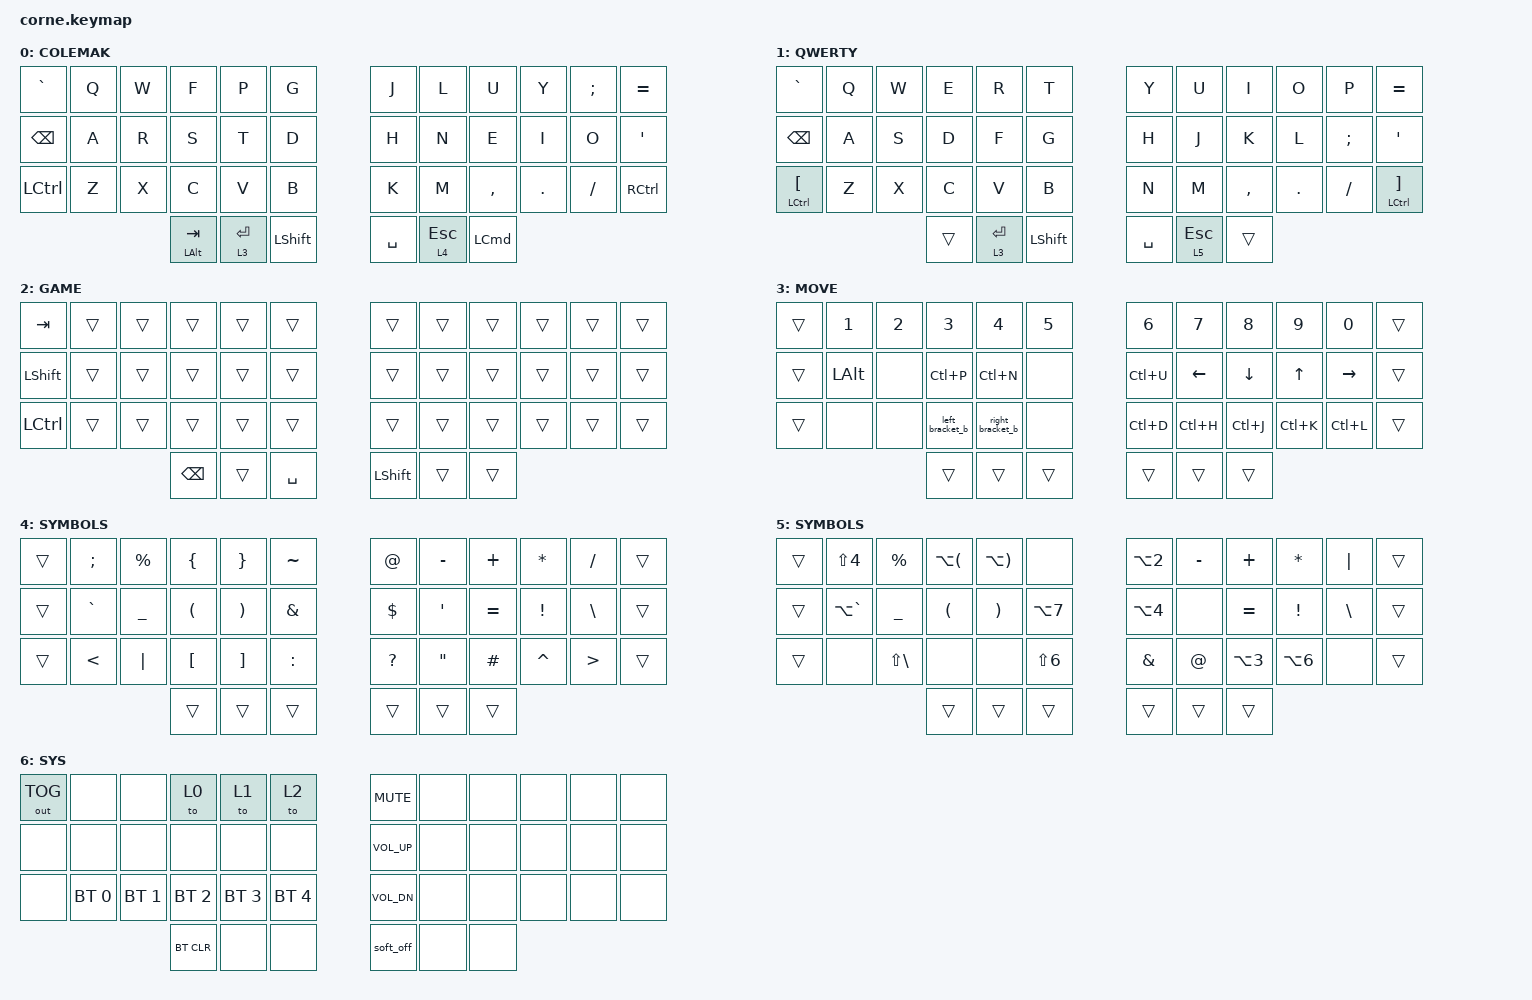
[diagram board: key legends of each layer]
/*
 * Copyright (c) 2020 The ZMK Contributors
 *
 * SPDX-License-Identifier: MIT
 */

#include <behaviors.dtsi>
#include <dt-bindings/zmk/bt.h>
#include <dt-bindings/zmk/keys.h>
#include <dt-bindings/zmk/outputs.h>

&lt {
    tapping-term-ms = <150>;
    flavor = "hold-preferred";
};

&mt {
    quick-tap-ms = <200>;
    tapping-term-ms = <150>;
};

/ {
    combos {
        compatible = "zmk,combos";

        gotoadjust {
            bindings = <&tog 6>;
            key-positions = <11 23 35>;
        };

        change_lang {
            bindings = <&change_lang>;
            key-positions = <0 12 24>;
        };
    };

    macros {
        left_bracket_b: lb {
            compatible = "zmk,behavior-macro";
            #binding-cells = <0>;
            bindings = <&kp LEFT_BRACKET &kp B>;
            label = "LB";
        };

        right_bracket_b: rb {
            compatible = "zmk,behavior-macro";
            #binding-cells = <0>;
            bindings = <&kp RIGHT_BRACKET &kp B>;
            label = "RB";
        };

        change_lang: change_lang {
            compatible = "zmk,behavior-macro";
            #binding-cells = <0>;
            bindings =
                <&tog 1>,
                <&macro_press>,
                <&kp LCTRL>,
                <&macro_wait_time 50>,
                <&macro_tap>,
                <&kp SPACE>,
                <&macro_release>,
                <&kp LCTRL>,
                <&macro_press>;

            label = "CHANGE_LANG";
        };
    };

    behaviors {
        mttap: mttap {
            compatible = "zmk,behavior-hold-tap";
            label = "MTTAP";
            bindings = <&kp>, <&kp>;

            #binding-cells = <2>;
            flavor = "balanced";
            tapping-term-ms = <150>;
            retro-tap;
        };
    };

    keymap {
        compatible = "zmk,keymap";

        colemak {
            bindings = <
&kp GRAVE      &kp Q  &kp W  &kp F             &kp P        &kp G             &kp J      &kp L      &kp U             &kp Y    &kp SEMI  &kp EQUAL
&kp BACKSPACE  &kp A  &kp R  &kp S             &kp T        &kp D             &kp H      &kp N      &kp E             &kp I    &kp O     &kp SQT
&kp LCTRL      &kp Z  &kp X  &kp C             &kp V        &kp B             &kp K      &kp M      &kp COMMA         &kp DOT  &kp FSLH  &kp RCTRL
                             &mt LEFT_ALT TAB  &lt 3 ENTER  &kp LEFT_SHIFT    &kp SPACE  &lt 4 ESC  &kp LEFT_COMMAND
            >;

            label = "COLEMAK";
        };

        default_layer {
            // -----------------------------------------------------------------------------------------
            // |  TAB |  Q  |  W  |  E  |  R  |  T  |   |  Y  |  U   |  I  |  O  |  P  | BKSP |
            // | CTRL |  A  |  S  |  D  |  F  |  G  |   |  H  |  J   |  K  |  L  |  ;  |  '   |
            // | SHFT |  Z  |  X  |  C  |  V  |  B  |   |  N  |  M   |  ,  |  .  |  /  | ESC  |
            //                    | GUI | LWR | SPC |   | ENT | RSE  | ALT |

            display-name = "QWERTY";
            bindings = <
&kp GRAVE                 &kp Q  &kp W  &kp E   &kp R        &kp T             &kp Y      &kp U      &kp I      &kp O    &kp P      &kp EQUAL
&kp BACKSPACE             &kp A  &kp S  &kp D   &kp F        &kp G             &kp H      &kp J      &kp K      &kp L    &kp SEMI   &kp SQT
&mttap LEFT_CONTROL LBKT  &kp Z  &kp X  &kp C   &kp V        &kp B             &kp N      &kp M      &kp COMMA  &kp DOT  &kp SLASH  &mttap LEFT_CONTROL RBKT
                                        &trans  &lt 3 ENTER  &kp LEFT_SHIFT    &kp SPACE  &lt 5 ESC  &trans
            >;
        };

        gayming {
            bindings = <
&kp TAB    &trans  &trans  &trans         &trans  &trans       &trans          &trans  &trans  &trans  &trans  &trans
&kp LSHFT  &trans  &trans  &trans         &trans  &trans       &trans          &trans  &trans  &trans  &trans  &trans
&kp LCTRL  &trans  &trans  &trans         &trans  &trans       &trans          &trans  &trans  &trans  &trans  &trans
                           &kp BACKSPACE  &trans  &kp SPACE    &kp LEFT_SHIFT  &trans  &trans
            >;

            label = "GAME";
        };

        lower_layer {
            // -----------------------------------------------------------------------------------------
            // |  TAB |  1  |  2  |  3  |  4  |  5  |   |  6  |  7  |  8  |  9  |  0  | BKSP |
            // | BTCLR| BT1 | BT2 | BT3 | BT4 | BT5 |   | LFT | DWN |  UP | RGT |     |      |
            // | SHFT |     |     |     |     |     |   |     |     |     |     |     |      |
            //                    | GUI |     | SPC |   | ENT |     | ALT |

            display-name = "MOVE";
            bindings = <
&trans  &kp N1        &kp N2  &kp N3           &kp N4            &kp N5    &kp N6     &kp N7     &kp N8          &kp N9        &kp N0           &trans
&trans  &kp LEFT_ALT  &none   &kp LC(P)        &kp LC(N)         &none     &kp LC(U)  &kp LEFT   &kp DOWN_ARROW  &kp UP_ARROW  &kp RIGHT_ARROW  &trans
&trans  &none         &none   &left_bracket_b  &right_bracket_b  &none     &kp LC(D)  &kp LC(H)  &kp LC(J)       &kp LC(K)     &kp LC(L)        &trans
                              &trans           &trans            &trans    &trans     &trans     &trans
            >;
        };

        raise_layer {
            // -----------------------------------------------------------------------------------------
            // |  TAB |  !  |  @  |  #  |  $  |  %  |   |  ^  |  &  |  *  |  (  |  )  | BKSP |
            // | CTRL |     |     |     |     |     |   |  -  |  =  |  [  |  ]  |  \  |  `   |
            // | SHFT |     |     |     |     |     |   |  _  |  +  |  {  |  }  | "|" |  ~   |
            //                    | GUI |     | SPC |   | ENT |     | ALT |

            display-name = "SYMBOLS";
            bindings = <
&trans  &kp SEMI   &kp PERCENT  &kp LBRC          &kp RBRC               &kp TILDE    &kp AT     &kp MINUS  &kp PLUS   &kp STAR   &kp SLASH  &trans
&trans  &kp GRAVE  &kp UNDER    &kp LPAR          &kp RIGHT_PARENTHESIS  &kp AMPS     &kp DLLR   &kp SQT    &kp EQUAL  &kp EXCL   &kp BSLH   &trans
&trans  &kp LT     &kp PIPE     &kp LEFT_BRACKET  &kp RIGHT_BRACKET      &kp COLON    &kp QMARK  &kp DQT    &kp HASH   &kp CARET  &kp GT     &trans
                                &trans            &trans                 &trans       &trans     &trans     &trans
            >;
        };

        raise_layer_russian {
            // Russian QWERTY symbols layer - produces same symbols as raise_layer
            // When OS is in Russian layout, mapped for macOS Russian keyboard
            // Symbols available in Russian layout + Option key combinations

            display-name = "SYMBOLS";
            bindings = <
&trans  &kp LS(N4)     &kp PERCENT     &kp LA(LEFT_PARENTHESIS)  &kp LA(RIGHT_PARENTHESIS)  &none         &kp LA(NUMBER_2)  &kp MINUS    &kp PLUS          &kp ASTERISK      &kp PIPE  &trans
&trans  &kp LA(GRAVE)  &kp UNDERSCORE  &kp LPAR                  &kp RPAR                   &kp LA(N7)    &kp LA(NUMBER_4)  &none        &kp EQUAL         &kp EXCLAMATION   &kp BSLH  &trans
&trans  &none          &kp LS(BSLH)    &none                     &none                      &kp LS(N6)    &kp AMPERSAND     &kp AT_SIGN  &kp LA(NUMBER_3)  &kp LA(NUMBER_6)  &none     &trans
                                       &trans                    &trans                     &trans        &trans            &trans       &trans
            >;
        };

        adjust_layer {
            bindings = <
&out OUT_TOG  &none         &none         &to 0         &to 1         &to 2           &kp K_MUTE       &none  &none  &none  &none  &none
&none         &none         &none         &none         &none         &none           &kp C_VOLUME_UP  &none  &none  &none  &none  &none
&none         &bt BT_SEL 0  &bt BT_SEL 1  &bt BT_SEL 2  &bt BT_SEL 3  &bt BT_SEL 4    &kp C_VOL_DN     &none  &none  &none  &none  &none
                                          &bt BT_CLR    &none         &none           &soft_off        &none  &none
            >;

            label = "SYS";
        };
    };
};
